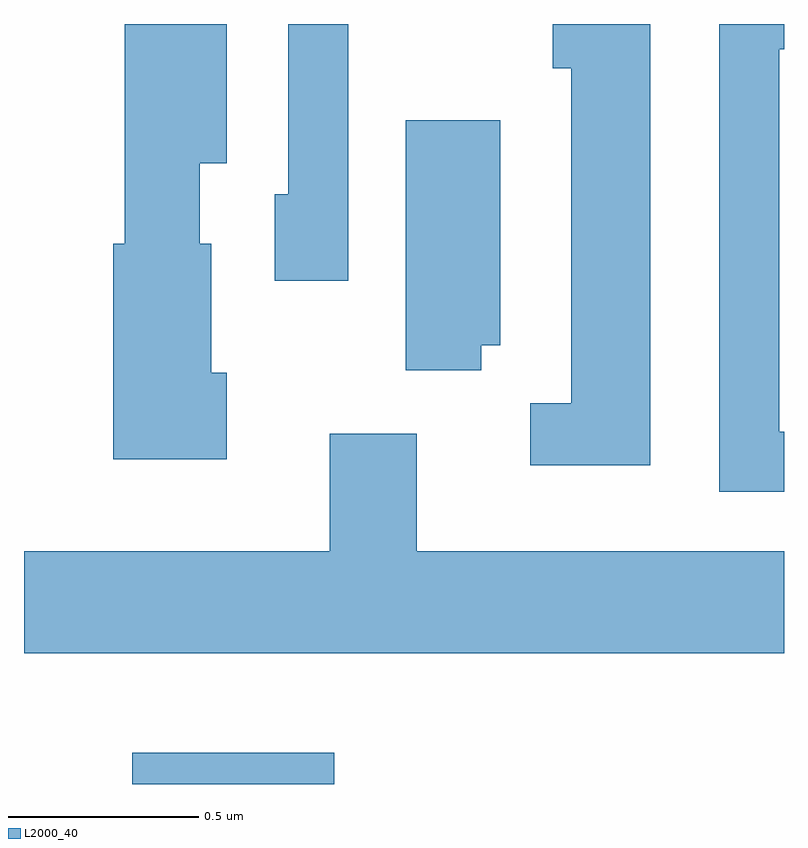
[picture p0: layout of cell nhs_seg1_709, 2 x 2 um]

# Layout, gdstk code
import gdstk
lib = gdstk.Library(unit=1e-6, precision=1e-09)
def R(c, l, rs):  # rectangles x0, y0, x1, y1
    for r in rs: c.add(gdstk.rectangle(r[:2], r[2:], *l))
def P(c, l, *ps):  # polygons
    for p in ps: c.add(gdstk.Polygon(p, *l))
L2000_40 = (2000, 40)

nhs_seg1_709 = lib.new_cell('nhs_seg1_709')
R(nhs_seg1_709, L2000_40, [(190.896,863.712,191.428,863.794)])
P(nhs_seg1_709, L2000_40, [(191.144,864.794),(191.104,864.794),(191.104,865.134),(191.074,865.134),(191.074,865.346),(191.144,865.346),(191.144,865.712),(190.876,865.712),(190.876,865.134),(190.846,865.134),(190.846,864.566),(191.144,864.566)],
  [(191.464,865.712),(191.306,865.712),(191.306,865.264),(191.271,865.264),(191.271,865.036),(191.464,865.036)],
  [(192.259,865.712),(192.003,865.712),(192.003,865.596),(192.051,865.596),(192.051,864.714),(191.943,864.714),(191.943,864.551),(192.259,864.551)],
  [(192.611,864.639),(192.599,864.639),(192.599,865.646),(192.611,865.646),(192.611,865.712),(192.441,865.712),(192.441,864.481),(192.611,864.481)],
  [(191.814,864.866),(191.864,864.866),(191.864,865.459),(191.616,865.459),(191.616,864.801),(191.814,864.801)],
  [(192.611,864.324),(191.644,864.324),(191.644,864.634),(191.416,864.634),(191.416,864.324),(190.611,864.324),(190.611,864.056),(192.611,864.056)])

lib.write_gds('nhs_seg1_709.gds')
